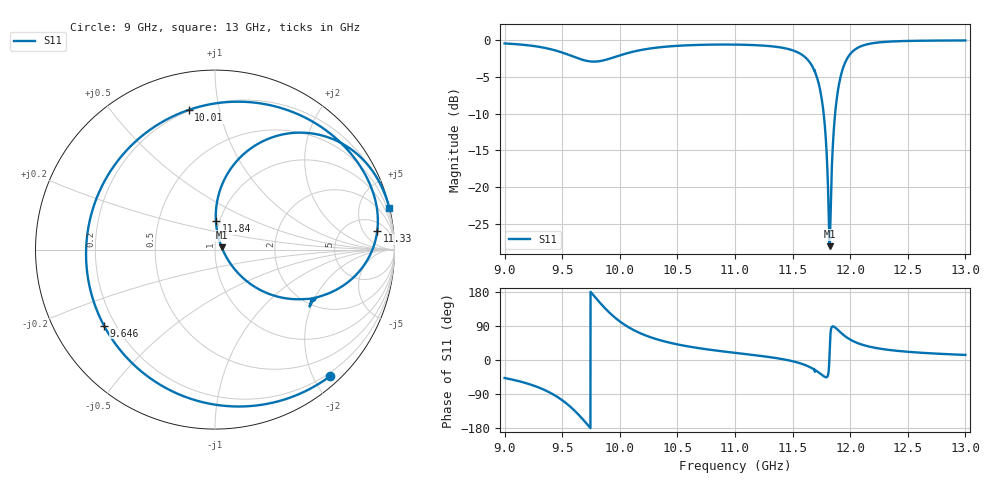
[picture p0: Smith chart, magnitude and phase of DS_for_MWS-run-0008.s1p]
! TOUCHSTONE file generated by CST DESIGN STUDIO
! Date and time: Tue Feb  4 14:21:47 2025
! Project name: C:\Work\MatlabApps\UnitCellOptimizationMatlab\CST\unitcell.cst
! Tree item: Tasks\Sweep1\SPara1\S-Parameters
! Header version: 2024
! Port assignment regex: !\s*Touchstone port\s*([0-9]+)\s*=\s*(CST MWS port|CST DES external port|CST DES block port)\s*(.+)\s* \(\"(.*)\"\)(\s*mode\s*([0-9]+))?.*
! Touchstone port assignment:
! Touchstone port 1 = CST DES external port 1 ("")
# GHz S MA R 50
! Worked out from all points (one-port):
!   4001 points, 9 GHz to 13 GHz, reference 50 ohm
!   lowest |S11| = -28.1 dB at 11.82 GHz (marker M1), VSWR 1.08, Z = 53.8 + j1.4 ohm
!   |S11| at or under -10 dB: 11.77 GHz to 11.87 GHz (99.5 MHz wide, 0.842 % of centre)
!   S11 on the Smith chart (normalised r, x): 9 GHz: 0.15, -2.26; 9.646 GHz: 0.16, -0.30; 10.01 GHz: 0.19, +0.81; 11.33 GHz: 9, +10; 11.84 GHz: 0.96, +0.31; 13 GHz: 0.04, +8.52
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9  0.9532 -47.5
9.266  0.9121 -69.1
9.5  0.826 -106.2
9.646  0.7498 -145.6
9.723  0.7222 -171.8
9.797  0.7174 161.7
9.899  0.7449 128.2
10  0.7896 101.8
10.005  0.7919 100.7
10.232  0.8729 63.9
10.5  0.9181 41.2
11  0.9359 18.9
11.327  0.9097 6.5
11.5  0.8559 -3.2
11.63  0.7391 -16.0
11.728  0.5017 -33.2
11.775  0.2876 -43.7
11.809  0.08964 -37.7
11.821  0.03941 19.3
11.832  0.08207 78.7
11.844  0.1574 88.2
11.865  0.2911 86.8
11.896  0.4677 78.5
11.943  0.6653 65.8
12  0.8065 53.9
12.178  0.9516 34.5
12.5  0.9912 21.6
13  0.9988 13.4
